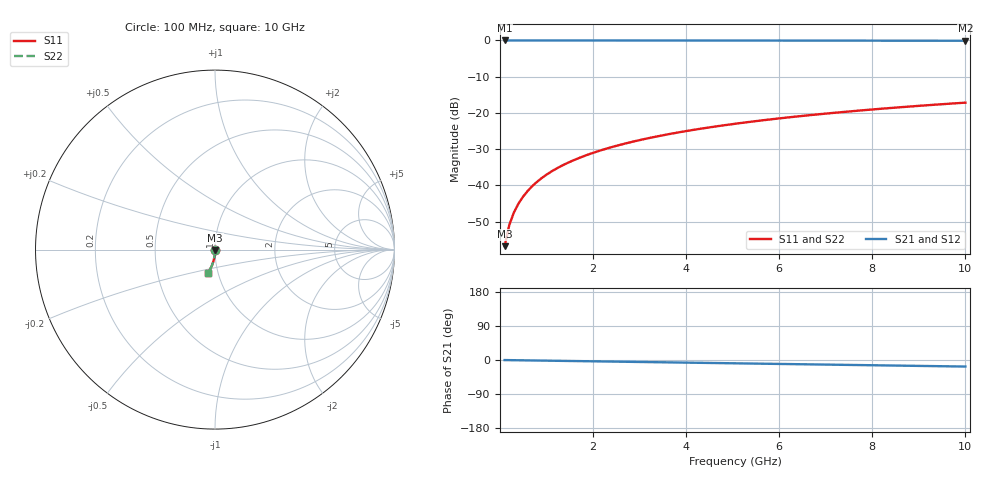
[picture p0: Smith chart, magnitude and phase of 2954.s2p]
# Hz S RI R 50.00
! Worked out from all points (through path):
!   100 points, 100 MHz to 10 GHz, reference 50 ohm
!   highest |S21| = 0.00 dB at 100 MHz (marker M1); lowest = -0.1 dB at 10 GHz (marker M2)
!   group delay of S21, straight-line fit = 4.81 ps
!   lowest |S11| = -56.8 dB at 100 MHz (marker M3), VSWR 1.00, Z = 50 - j0.14 ohm
!   |S11| at or under -10 dB: start of sweep to end of sweep
!   |S22| runs from -56.8 to -17.2 dB; largest |S21 - S12| = 0
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1e8  0.000344 -0.0014  0.9996 -0.00301  0.9996 -0.00301  0.000344 -0.0014
2e8  0.000332 -0.00281  0.9996 -0.00603  0.9996 -0.00603  0.000332 -0.00281
3e8  0.000311 -0.00421  0.9996 -0.00904  0.9996 -0.00904  0.000311 -0.00421
4e8  0.00028 -0.00561  0.9995 -0.0121  0.9995 -0.0121  0.00028 -0.00561
5e8  0.000241 -0.00702  0.9995 -0.0151  0.9995 -0.0151  0.000241 -0.00702
6e8  0.000194 -0.00842  0.9994 -0.0181  0.9994 -0.0181  0.000194 -0.00842
7e8  0.000138 -0.00982  0.9994 -0.0211  0.9994 -0.0211  0.000138 -0.00982
8e8  7.31e-05 -0.0112  0.9993 -0.0241  0.9993 -0.0241  7.31e-05 -0.0112
9e8  -4.01e-08 -0.0126  0.9992 -0.0271  0.9992 -0.0271  -4.01e-08 -0.0126
1.1e9  -0.000172 -0.0154  0.9989 -0.0331  0.9989 -0.0331  -0.000172 -0.0154
1.4e9  -0.000493 -0.0196  0.9985 -0.0422  0.9985 -0.0422  -0.000493 -0.0196
1.8e9  -0.00104 -0.0252  0.9978 -0.0542  0.9978 -0.0542  -0.00104 -0.0252
2.1e9  -0.00154 -0.0294  0.9971 -0.0632  0.9971 -0.0632  -0.00154 -0.0294
2.5e9  -0.00232 -0.035  0.9961 -0.0753  0.9961 -0.0753  -0.00232 -0.035
2.9e9  -0.00324 -0.0405  0.9949 -0.0873  0.9949 -0.0873  -0.00324 -0.0405
3.4e9  -0.00458 -0.0475  0.9932 -0.1023  0.9932 -0.1023  -0.00458 -0.0475
4.2e9  -0.00715 -0.0584  0.9898 -0.1262  0.9898 -0.1262  -0.00715 -0.0584
5.1e9  -0.0107 -0.0706  0.9852 -0.1529  0.9852 -0.1529  -0.0107 -0.0706
5.9e9  -0.0144 -0.0813  0.9803 -0.1765  0.9803 -0.1765  -0.0144 -0.0813
6.7e9  -0.0186 -0.0917  0.9748 -0.1999  0.9748 -0.1999  -0.0186 -0.0917
8.4e9  -0.0291 -0.1132  0.9608 -0.2491  0.9608 -0.2491  -0.0291 -0.1132
1e10  -0.041 -0.1323  0.945 -0.2942  0.945 -0.2942  -0.041 -0.1323
